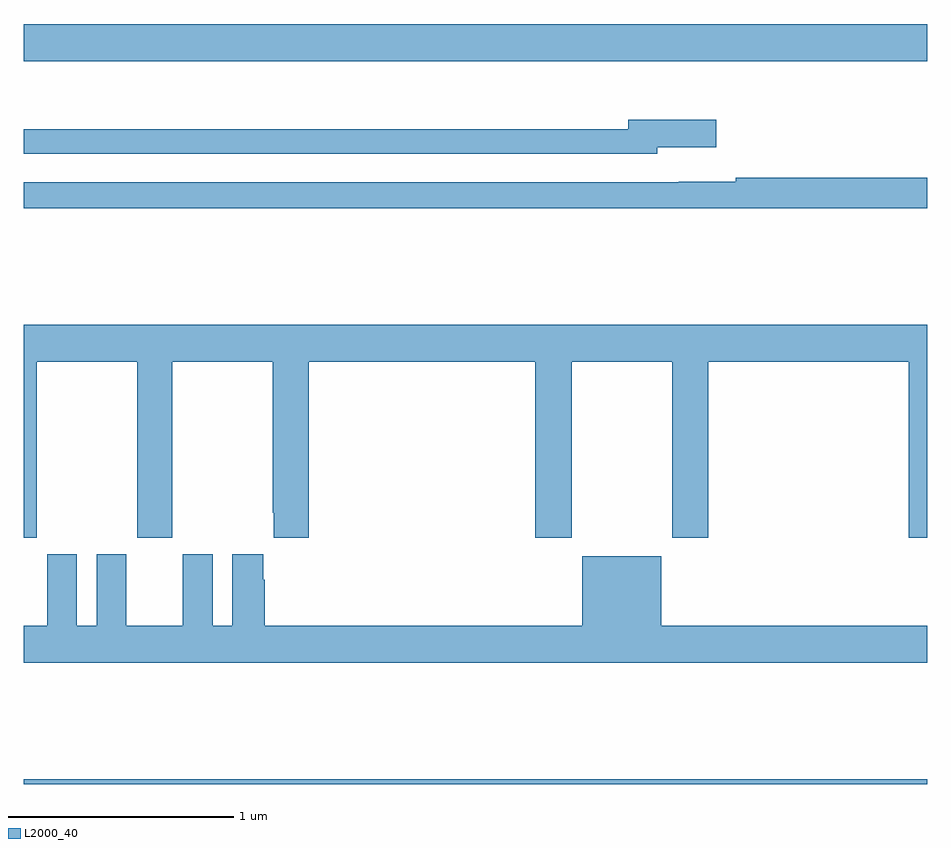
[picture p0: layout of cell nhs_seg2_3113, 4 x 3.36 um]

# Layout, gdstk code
import gdstk
lib = gdstk.Library(unit=1e-6, precision=1e-09)
def R(c, l, rs):  # rectangles x0, y0, x1, y1
    for r in rs: c.add(gdstk.rectangle(r[:2], r[2:], *l))
def P(c, l, *ps):  # polygons
    for p in ps: c.add(gdstk.Polygon(p, *l))
L2000_40 = (2000, 40)

nhs_seg2_3113 = lib.new_cell('nhs_seg2_3113')
R(nhs_seg2_3113, L2000_40, [(275,613.8,279,613.82), (275,617,279,617.164)])
P(nhs_seg2_3113, L2000_40, [(277.804,616.619),(278.065,616.619),(278.065,616.741),(277.676,616.741),(277.676,616.699),(275,616.699),(275,616.59),(277.804,616.59)],
  [(279,616.484),(278.152,616.484),(278.152,616.465),(277.9,616.465),(277.9,616.464),(275,616.464),(275,616.348),(279,616.348)],
  [(275.058,615.668),(275.503,615.668),(275.503,614.889),(275.658,614.889),(275.658,615.668),(276.103,615.668),(276.103,615.001),(276.107,615.001),(276.107,614.889),(276.263,614.889),(276.263,615.668),(277.265,615.668),(277.265,614.889),(277.425,614.889),(277.425,615.668),(277.87,615.668),(277.87,614.889),(278.03,614.889),(278.03,615.668),(278.918,615.668),(278.918,614.889),(279,614.889),(279,615.832),(275,615.832),(275,614.889),(275.058,614.889)],
  [(279,614.5),(277.822,614.5),(277.822,614.809),(277.472,614.809),(277.472,614.5),(276.068,614.5),(276.068,614.705),(276.061,614.705),(276.061,614.818),(275.924,614.818),(275.924,614.5),(275.836,614.5),(275.836,614.818),(275.705,614.818),(275.705,614.5),(275.455,614.5),(275.455,614.818),(275.324,614.818),(275.324,614.5),(275.236,614.5),(275.236,614.818),(275.105,614.818),(275.105,614.5),(275,614.5),(275,614.336),(279,614.336)])

lib.write_gds('nhs_seg2_3113.gds')
